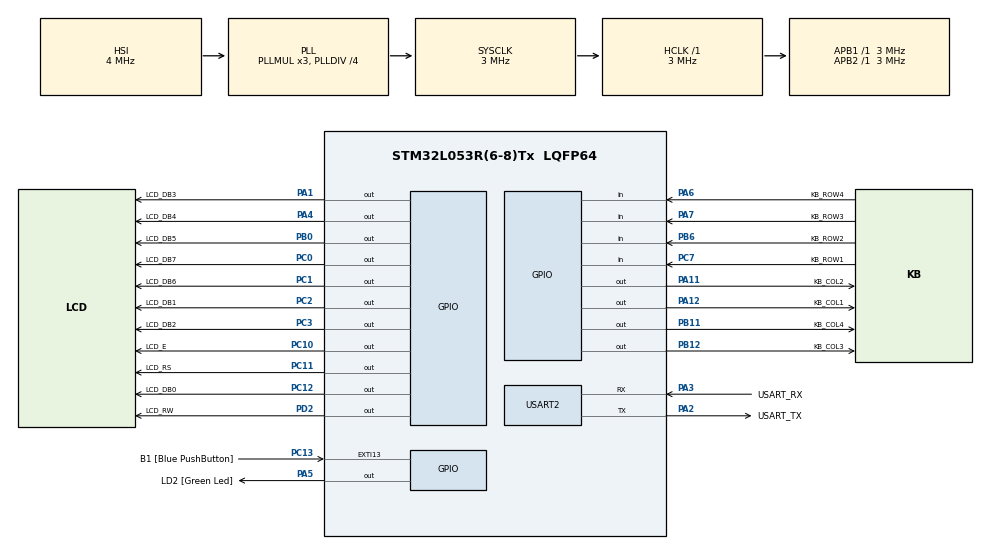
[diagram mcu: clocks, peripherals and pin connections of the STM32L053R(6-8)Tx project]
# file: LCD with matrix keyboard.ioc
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Mcu.Family=STM32L0
Mcu.Name=STM32L053R(6-8)Tx
Mcu.Package=LQFP64
PA1.GPIO_Label=LCD_DB3
PA1.Signal=GPIO_Output
PA11.GPIO_Label=KB_COL2
PA11.Signal=GPIO_Output
PA12.GPIO_Label=KB_COL1
PA12.Signal=GPIO_Output
PA13.GPIO_Label=TMS
PA13.Mode=Serial_Wire
PA13.Signal=SYS_SWDIO
PA14.GPIO_Label=TCK
PA14.Mode=Serial_Wire
PA14.Signal=SYS_SWCLK
PA2.GPIO_Label=USART_TX
PA2.Mode=Asynchronous
PA2.Signal=USART2_TX
PA3.GPIO_Label=USART_RX
PA3.Mode=Asynchronous
PA3.Signal=USART2_RX
PA4.GPIO_Label=LCD_DB4
PA4.Signal=GPIO_Output
PA5.GPIO_Label=LD2 [Green Led]
PA5.Signal=GPIO_Output
PA6.GPIO_Label=KB_ROW4
PA6.GPIO_PuPd=GPIO_PULLDOWN
PA6.Signal=GPIO_Input
PA7.GPIO_Label=KB_ROW3
PA7.GPIO_PuPd=GPIO_PULLDOWN
PA7.Signal=GPIO_Input
PB0.GPIO_Label=LCD_DB5
PB0.Signal=GPIO_Output
PB11.GPIO_Label=KB_COL4
PB11.Signal=GPIO_Output
PB12.GPIO_Label=KB_COL3
PB12.Signal=GPIO_Output
PB6.GPIO_Label=KB_ROW2
PB6.GPIO_PuPd=GPIO_PULLDOWN
PB6.Signal=GPIO_Input
PC0.GPIO_Label=LCD_DB7
PC0.Signal=GPIO_Output
PC1.GPIO_Label=LCD_DB6
PC1.Signal=GPIO_Output
PC10.GPIO_Label=LCD_E
PC10.Signal=GPIO_Output
PC11.GPIO_Label=LCD_RS
PC11.Signal=GPIO_Output
PC12.GPIO_Label=LCD_DB0
PC12.Signal=GPIO_Output
PC13.GPIO_Label=B1 [Blue PushButton]
PC13.GPIO_ModeDefaultEXTI=GPIO_MODE_IT_FALLING
PC13.Signal=GPXTI13
PC14-OSC32_IN.Mode=LSE-External-Oscillator
PC14-OSC32_IN.Signal=RCC_OSC32_IN
PC15-OSC32_OUT.Mode=LSE-External-Oscillator
PC15-OSC32_OUT.Signal=RCC_OSC32_OUT
PC2.GPIO_Label=LCD_DB1
PC2.Signal=GPIO_Output
PC3.GPIO_Label=LCD_DB2
PC3.Signal=GPIO_Output
PC7.GPIO_Label=KB_ROW1
PC7.GPIO_PuPd=GPIO_PULLDOWN
PC7.Signal=GPIO_Input
PD2.GPIO_Label=LCD_RW
PD2.Signal=GPIO_Output
PH0-OSC_IN.Mode=HSE-External-Clock-Source
PH0-OSC_IN.Signal=RCC_OSC_IN
PH1-OSC_OUT.Signal=RCC_OSC_OUT
ProjectManager.HeapSize=0x200
ProjectManager.StackSize=0x400
ProjectManager.TargetToolchain=MDK-ARM V5.27
RCC.ADCFreq_Value=4000000
RCC.AHBFreq_Value=3000000
RCC.APB1Freq_Value=3000000
RCC.APB1TimFreq_Value=3000000
RCC.APB2Freq_Value=3000000
RCC.APB2TimFreq_Value=3000000
RCC.HCLKFreq_Value=3000000
RCC.HSE_VALUE=8000000
RCC.HSI16_VALUE=16000000
RCC.HSI48_VALUE=48000000
RCC.HSIRCDiv=4
RCC.HSI_VALUE=4000000
RCC.MSI_VALUE=2097000
RCC.PLLDIV=RCC_PLLDIV_4
RCC.SYSCLKFreq_VALUE=3000000
RCC.SYSCLKSource=RCC_SYSCLKSOURCE_PLLCLK
RCC.VCOOutputFreq_Value=12000000
USART2.VirtualMode-Asynchronous=VM_ASYNC
board=NUCLEO-L053R8

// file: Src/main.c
/* USER CODE BEGIN Header */
/**
  ******************************************************************************
  * @file           : main.c
  * @brief          : Main program body
  ******************************************************************************
  * @attention
  *
  * <h2><center>&copy; Copyright (c) 2021 STMicroelectronics.
  * All rights reserved.</center></h2>
  *
  * This software component is licensed by ST under BSD 3-Clause license,
  * the "License"; You may not use this file except in compliance with the
  * License. You may obtain a copy of the License at:
  *                        opensource.org/licenses/BSD-3-Clause
  *
  ******************************************************************************
  */
/* USER CODE END Header */

#include "main.h"
#include "usart.h"
#include "gpio.h"

/* USER CODE BEGIN Includes */
#include "stdio.h"
/* USER CODE END Includes */

/* USER CODE BEGIN PTD */
typedef struct {
	char character;
	uint8_t number;
} Button;

typedef struct {
	char characters[2];
	uint8_t number;
} ValueDef;
/* USER CODE END PTD */

/* USER CODE BEGIN PD */
#define INSTRUCTION 			0
#define DATA 							1
#define WRITE_MODE 				GPIO_PIN_RESET
#define READ_MODE 				GPIO_PIN_SET
#define RESET 						GPIO_PIN_RESET
#define SET 							GPIO_PIN_SET
#define VIAS_4						0
#define VIAS_8						1
#define VIAS_DEFAULT      VIAS_8
#define LEFT_ARROW				0x00
#define RIGHT_ARROW				0x01

/* USER CODE END PD */

/* USER CODE BEGIN PM */
typedef enum {left, right, both, none}ScreenArrow;
typedef enum {screen1, screen2, screen3, screen4, screen5, screen6, screen7, wrongPassword, event1, event2, event3, event4, event5, noScreen}Screens;
/* USER CODE END PM */

/* USER CODE BEGIN PV */
Button kb_keys[4][4] = {
	{{'1',1},{'2',2},{'3',3},{'u',0xfe}},
	{{'4',4},{'5',5},{'6',6},{'d',0xfe}},
	{{'7',7},{'8',8},{'9',9},{'l',0xfe}},
	{{'*',0xff},{'0',0},{'#',0xff},{'r',0xfe}}
};

uint8_t arrowsCharacter [2][7] = {
	{0x00, 0x04, 0x08, 0x1f, 0x08, 0x04, 0x00},
	{0x00, 0x04, 0x02, 0x1f, 0x02, 0x04, 0x00}
};

char number[10] = {'0','1','2','3','4','5','6','7','8','9'};

ValueDef aqValue [3] = {
	{{'3','2'}, 32},
	{{'3','2'}, 32},
	{{'3','2'}, 32}
};

ValueDef rsfValue [3] = {
	{{'1','7'}, 17},
	{{'1','7'}, 17},
	{{'1','7'}, 17}
};

char passwords[3][4] = {
	{'0','0','0','1'},
	{'0','0','0','2'},
	{'0','0','0','3'}
};
/* USER CODE END PV */

void SystemClock_Config(void);
/* USER CODE BEGIN PFP */
void lcdInitialization(void);
void lcdSender(uint8_t, uint8_t, uint8_t);
void lcdWriteMessage(char *);
void lcdWriteCharacter(char);
void lcdWriteFormatedNumber(char);
void breakLine(void);
void cleanScreen(void);
void enableKBCol(uint8_t);
uint8_t selectedRow(uint8_t);
void lcdCreateCharacter(uint8_t [2][7]);
void turnOutputVias(void);
void turnInputVias(void);
char lcdReader(void);
void moveCursorTo(uint8_t row, uint8_t col);
Button numberButton(void);
void createScreen(char *msg1, char *msg2, ScreenArrow arrows) {
	cleanScreen();
	lcdWriteMessage(msg1);
	breakLine();
	lcdWriteMessage(msg2);

	switch(arrows) {
		case left:
			moveCursorTo(2,1);
			lcdWriteCharacter(LEFT_ARROW);
			break;
		case right:
			moveCursorTo(2,16);
			lcdWriteCharacter(RIGHT_ARROW);
			break;
		case both:
			moveCursorTo(2,1);
			lcdWriteCharacter(LEFT_ARROW);
			moveCursorTo(2,16);
			lcdWriteCharacter(RIGHT_ARROW);
			break;
		case none:
			break;
	}
}

/* USER CODE END PFP */

int main(void)
{

  /* MCU Configuration--------------------------------------------------------*/

  /* Reset of all peripherals, Initializes the Flash interface and the Systick. */
  HAL_Init();

  /* Configure the system clock */
  SystemClock_Config();

  /* Initialize all configured peripherals */
  MX_GPIO_Init();
  MX_USART2_UART_Init();
  /* USER CODE BEGIN 2 */
	lcdInitialization();
	lcdCreateCharacter(arrowsCharacter);

	Screens currentScreen = noScreen, nextScreen = screen1;
	uint8_t profile = 1;
	char *msg1, *msg2;
	Button bt;
	uint8_t passwordChecked;
	ValueDef aqValueTemp;
	ValueDef rsfValueTemp;
	uint8_t i;
  /* USER CODE END 2 */

  /* Infinite loop */
  while (1)
  {

    /* USER CODE BEGIN 3 */

		if(currentScreen != nextScreen) {
			currentScreen = nextScreen;
			switch(currentScreen) {
				case screen1:
					createScreen("  TEMPORIZADOR  ", "    PERFIL 1    ", right);
					profile = 1;
					do {
						bt = numberButton();
						switch(bt.character) {
							case 'r':
								nextScreen = screen2;
								break;
							case 'd':
								nextScreen = screen4;
								break;
							default:
								bt.number = 0xff;
								break;
						}
					} while(bt.number != 0xfe);
					break;
				case screen2:
					createScreen("  TEMPORIZADOR  ", "    PERFIL 2    ", both);
					profile = 2;
					do {
						bt = numberButton();
						switch(bt.character) {
							case 'l':
								nextScreen = screen1;
								break;
							case 'r':
								nextScreen = screen3;
								break;
							case 'd':
								nextScreen = screen4;
								break;
							default:
								bt.number = 0xff;
								break;
						}
					} while(bt.number != 0xfe);
					break;
				case screen3:
					createScreen("  TEMPORIZADOR  ", "    PERFIL 3    ", left);
					profile = 3;
					do {
						bt = numberButton();
						switch(bt.character) {
							case 'l':
								nextScreen = screen2;
								break;
								break;
							case 'd':
								nextScreen = screen4;
								break;
							default:
								bt.number = 0xff;
								break;
						}
					} while(bt.number != 0xfe);
					break;
				case screen4:
					msg1 = "    PERFIL X    ";
					msg2 = "AQ: XXs RSF: XXs";
					createScreen(msg1, msg2, none);
					moveCursorTo(1, 12);
					lcdWriteCharacter(number[profile]);
					moveCursorTo(2, 5);
					lcdWriteCharacter(aqValue[profile-1].characters[0]);
					lcdWriteCharacter(aqValue[profile-1].characters[1]);
					moveCursorTo(2, 14);
					lcdWriteCharacter(rsfValue[profile-1].characters[0]);
					lcdWriteCharacter(rsfValue[profile-1].characters[1]);
					HAL_Delay(1000);
					nextScreen = screen5;
					break;
				case screen5:
					msg1 = "    PERFIL X    ";
					msg2 = "    INICIAR     ";
					createScreen(msg1, msg2, right);
					moveCursorTo(1, 12);
					lcdWriteCharacter(number[profile]);
					do {
						bt = numberButton();
						switch(bt.character) {
							case 'u':
								nextScreen = screen1;
								break;
							case 'd':
								nextScreen = screen6;
								break;
							case 'r':
								nextScreen = screen7;
								break;
							default:
								bt.number = 0xff;
								break;
						}
					} while(bt.number != 0xfe);
					break;
				case screen6:
					msg1 = "    PERFIL X    ";
					msg2 = " INICIAR CICLO  ";
					createScreen(msg1, msg2, none);
					moveCursorTo(1, 12);
					lcdWriteCharacter(number[profile]);
					do {
						bt = numberButton();
						switch(bt.character) {
							case 'u':
								nextScreen = screen1;
								break;
							// Go to task E
							default:
								bt.number = 0xff;
								break;
						}
					} while(bt.number != 0xfe);
					break;
				case screen7:
					msg1 = "    PERFIL X    ";
					msg2 = "     EDITAR     ";
					createScreen(msg1, msg2, left);
					moveCursorTo(1, 12);
					lcdWriteCharacter(number[profile]);
					do {
						bt = numberButton();
						switch(bt.character) {
							case 'u':
								nextScreen = screen1;
								break;
							case 'l':
								nextScreen = screen5;
								break;
							case 'd':
								nextScreen = event1;
								break;
							default:
								bt.number = 0xff;
								break;
						}
					} while(bt.number != 0xfe);
					break;
				case wrongPassword:
					msg1 = "     SENHA      ";
					msg2 = "   INCORRETA    ";
					createScreen(msg1, msg2, none);
					HAL_Delay(1000);
					nextScreen = screen4;
					break;
				case event1:
					msg1 = "EDITAR PERFIL X ";
					msg2 = "SENHA:          ";
					createScreen(msg1, msg2, none);
					moveCursorTo(1, 15);
					lcdWriteCharacter(number[profile]);
					moveCursorTo(2,7);
				  int8_t counter = 0;
					char passwordCheck[4];
					while(counter < 4) {
						do {
							bt = numberButton();
						} while(bt.number == 0xfe || bt.number == 0xff);
						passwordCheck[counter] = bt.character;
						lcdWriteCharacter('*');
						counter++;
					}
					passwordChecked = 1;
					for(counter = 3; counter >= 0; counter--) {
						if(passwords[profile-1][counter] != passwordCheck[counter]) {
							passwordChecked = 0;
							break;
						}
					}
					if(passwordChecked == 0) {
						nextScreen = wrongPassword;
					} else {
						nextScreen = event2;
					}
					break;
				case event2:
					msg1 = "EDITAR PERFIL X ";
					msg2 = "AQUECIMENTO: XXs";
					createScreen(msg1, msg2, none);
					moveCursorTo(1, 15);
					lcdWriteCharacter(number[profile]);
					moveCursorTo(2, 14);
					lcdWriteCharacter(aqValue[profile-1].characters[0]);
					lcdWriteCharacter(aqValue[profile-1].characters[1]);
					do {
						aqValueTemp.number = 0;
						moveCursorTo(2, 14);
						lcdWriteMessage("  ");
						moveCursorTo(2, 14);
						for(i = 0; i < 2; i++) {
							do {
								bt = numberButton();
							}while(bt.number == 0xfe || bt.number == 0xff);
							if(i == 0) {
								aqValueTemp.number += (bt.number * 10);
							} else {
								aqValueTemp.number += bt.number;
							}
							aqValueTemp.characters[i] = bt.character;
							lcdWriteCharacter(bt.character);
						}
					} while(aqValueTemp.number > 32);

					do {
						bt = numberButton();
						switch(bt.character) {
							case 'd':
								nextScreen = event3;
								break;
							default:
								bt.number = 0xff;
								break;
						}
					} while(bt.number != 0xfe);
					break;
				case event3:
					msg1 = "EDITAR PERFIL X ";
					msg2 = "RESFRIAMENTO:XXs";
					createScreen(msg1, msg2, none);
					moveCursorTo(1, 15);
					lcdWriteCharacter(number[profile]);
					moveCursorTo(2, 14);
					lcdWriteCharacter(rsfValue[profile-1].characters[0]);
					lcdWriteCharacter(rsfValue[profile-1].characters[1]);
					do {
						rsfValueTemp.number = 0;
						moveCursorTo(2, 14);
						lcdWriteMessage("  ");
						moveCursorTo(2, 14);
						for(i = 0; i < 2; i++) {
							do {
								bt = numberButton();
							}while(bt.number == 0xfe || bt.number == 0xff);
							if(i == 0) {
								rsfValueTemp.number += (bt.number * 10);
							} else {
								rsfValueTemp.number += bt.number;
							}
							rsfValueTemp.characters[i] = bt.character;
							lcdWriteCharacter(bt.character);
						}
					} while(rsfValueTemp.number > 17);

					do {
						bt = numberButton();
						switch(bt.character) {
							case 'd':
								nextScreen = event4;
								break;
							default:
								bt.number = 0xff;
								break;
						}
					} while(bt.number != 0xfe);
					break;
				case event4:
					msg1 = "SALVAR PERFIL X?";
					msg2 = "AQ: XXs RSF: XXs";
					createScreen(msg1, msg2, none);
					moveCursorTo(1, 15);
					lcdWriteCharacter(number[profile]);
					moveCursorTo(2, 5);
					lcdWriteCharacter(aqValueTemp.characters[0]);
					lcdWriteCharacter(aqValueTemp.characters[1]);
					moveCursorTo(2, 14);
					lcdWriteCharacter(rsfValueTemp.characters[0]);
					lcdWriteCharacter(rsfValueTemp.characters[1]);
					do {
						bt = numberButton();
						switch(bt.character) {
							case 'u':
								nextScreen = screen1;
								break;
							case 'd':
								rsfValue[profile-1].characters[0] = rsfValueTemp.characters[0];
								rsfValue[profile-1].characters[1] = rsfValueTemp.characters[1];
								rsfValue[profile-1].number = rsfValueTemp.number;

								aqValue[profile-1].characters[0] = aqValueTemp.characters[0];
								aqValue[profile-1].characters[1] = aqValueTemp.characters[1];
								aqValue[profile-1].number = aqValueTemp.number;

								nextScreen = event5;
								break;
							default:
								bt.number = 0xff;
								break;
						}
					} while(bt.number != 0xfe);
					break;
				case event5:
					msg1 = " PERFIL X SALVO ";
					msg2 = "                ";
					createScreen(msg1, msg2, none);
					moveCursorTo(1, 9);
					lcdWriteCharacter(number[profile]);
					HAL_Delay(1000);
					nextScreen = screen5;
					break;
				case noScreen:
					break;
			}
		}

  }
  /* USER CODE END 3 */
}

void SystemClock_Config(void)
{
  RCC_OscInitTypeDef RCC_OscInitStruct = {0};
  RCC_ClkInitTypeDef RCC_ClkInitStruct = {0};
  RCC_PeriphCLKInitTypeDef PeriphClkInit = {0};

  /** Configure the main internal regulator output voltage
  */
  __HAL_PWR_VOLTAGESCALING_CONFIG(PWR_REGULATOR_VOLTAGE_SCALE1);
  /** Initializes the CPU, AHB and APB busses clocks
  */
  RCC_OscInitStruct.OscillatorType = RCC_OSCILLATORTYPE_HSI;
  RCC_OscInitStruct.HSIState = RCC_HSI_DIV4;
  RCC_OscInitStruct.HSICalibrationValue = RCC_HSICALIBRATION_DEFAULT;
  RCC_OscInitStruct.PLL.PLLState = RCC_PLL_ON;
  RCC_OscInitStruct.PLL.PLLSource = RCC_PLLSOURCE_HSI;
  RCC_OscInitStruct.PLL.PLLMUL = RCC_PLLMUL_3;
  RCC_OscInitStruct.PLL.PLLDIV = RCC_PLLDIV_4;
  if (HAL_RCC_OscConfig(&RCC_OscInitStruct) != HAL_OK)
  {
    Error_Handler();
  }
  /** Initializes the CPU, AHB and APB busses clocks
  */
  RCC_ClkInitStruct.ClockType = RCC_CLOCKTYPE_HCLK|RCC_CLOCKTYPE_SYSCLK
                              |RCC_CLOCKTYPE_PCLK1|RCC_CLOCKTYPE_PCLK2;
  RCC_ClkInitStruct.SYSCLKSource = RCC_SYSCLKSOURCE_PLLCLK;
  RCC_ClkInitStruct.AHBCLKDivider = RCC_SYSCLK_DIV1;
  RCC_ClkInitStruct.APB1CLKDivider = RCC_HCLK_DIV1;
  RCC_ClkInitStruct.APB2CLKDivider = RCC_HCLK_DIV1;

  if (HAL_RCC_ClockConfig(&RCC_ClkInitStruct, FLASH_LATENCY_0) != HAL_OK)
  {
    Error_Handler();
  }
  PeriphClkInit.PeriphClockSelection = RCC_PERIPHCLK_USART2;
  PeriphClkInit.Usart2ClockSelection = RCC_USART2CLKSOURCE_PCLK1;
  if (HAL_RCCEx_PeriphCLKConfig(&PeriphClkInit) != HAL_OK)
  {
    Error_Handler();
  }
}

/* USER CODE BEGIN 4 */
void lcdInitialization(void) {

	switch(VIAS_DEFAULT) {
		case VIAS_8:
			HAL_Delay(15);
			lcdSender(0x30, INSTRUCTION, WRITE_MODE);
			HAL_Delay(5);
			lcdSender(0x30, INSTRUCTION, WRITE_MODE);
			lcdSender(0x30, INSTRUCTION, WRITE_MODE);
			lcdSender(0x38, INSTRUCTION, WRITE_MODE);
			lcdSender(0x0F, INSTRUCTION, WRITE_MODE);
			lcdSender(0x06, INSTRUCTION, WRITE_MODE);
			HAL_Delay(2);
			lcdSender(0x01, INSTRUCTION, WRITE_MODE);
			HAL_Delay(2);
			lcdSender(0x0C, INSTRUCTION, WRITE_MODE);
			HAL_Delay(2);
			break;
		case VIAS_4:
			HAL_Delay(15);
			lcdSender(0x33, INSTRUCTION, WRITE_MODE);
			lcdSender(0x32, INSTRUCTION, WRITE_MODE);
			lcdSender(0x2F, INSTRUCTION, WRITE_MODE);
			lcdSender(0x08, INSTRUCTION, WRITE_MODE);
			lcdSender(0x0C, INSTRUCTION, WRITE_MODE);
			lcdSender(0x01, INSTRUCTION, WRITE_MODE);
			HAL_Delay(2);
			break;
	}

}

void lcdSender(uint8_t data, uint8_t rs_mode, uint8_t rw_mode) {
	HAL_GPIO_WritePin(LCD_RS_GPIO_Port, LCD_RS_Pin, (rs_mode == DATA ? SET:RESET));
	HAL_GPIO_WritePin(LCD_RW_GPIO_Port, LCD_RW_Pin, rw_mode);

	switch(VIAS_DEFAULT) {
		case VIAS_8:
			HAL_GPIO_WritePin(LCD_DB0_GPIO_Port, LCD_DB0_Pin, ((data & 0x01) == 0x01 ? SET:RESET));
			HAL_GPIO_WritePin(LCD_DB1_GPIO_Port, LCD_DB1_Pin, ((data & 0x02) == 0x02 ? SET:RESET));
			HAL_GPIO_WritePin(LCD_DB2_GPIO_Port, LCD_DB2_Pin, ((data & 0x04) == 0x04 ? SET:RESET));
			HAL_GPIO_WritePin(LCD_DB3_GPIO_Port, LCD_DB3_Pin, ((data & 0x08) == 0x08 ? SET:RESET));
			HAL_GPIO_WritePin(GPIOA, GPIO_PIN_4, ((data & 0x10) == 0x10 ? SET:RESET));
			HAL_GPIO_WritePin(LCD_DB5_GPIO_Port, LCD_DB5_Pin, ((data & 0x20) == 0x20 ? SET:RESET));
			HAL_GPIO_WritePin(LCD_DB6_GPIO_Port, LCD_DB6_Pin, ((data & 0x40) == 0x40 ? SET:RESET));
			HAL_GPIO_WritePin(LCD_DB7_GPIO_Port, LCD_DB7_Pin, ((data & 0x80) == 0x80 ? SET:RESET));
			break;
		case VIAS_4:
			HAL_GPIO_WritePin(LCD_DB4_GPIO_Port, LCD_DB4_Pin, ((data & 0x10) == 0x10 ? SET:RESET));
			HAL_GPIO_WritePin(LCD_DB5_GPIO_Port, LCD_DB5_Pin, ((data & 0x20) == 0x20 ? SET:RESET));
			HAL_GPIO_WritePin(LCD_DB6_GPIO_Port, LCD_DB6_Pin, ((data & 0x40) == 0x40 ? SET:RESET));
			HAL_GPIO_WritePin(LCD_DB7_GPIO_Port, LCD_DB7_Pin, ((data & 0x80) == 0x80 ? SET:RESET));

			HAL_GPIO_WritePin(LCD_E_GPIO_Port, LCD_E_Pin, RESET);
			HAL_Delay(1);
			HAL_GPIO_WritePin(LCD_E_GPIO_Port, LCD_E_Pin, SET);
			HAL_Delay(1);
			HAL_GPIO_WritePin(LCD_E_GPIO_Port, LCD_E_Pin, RESET);

			HAL_GPIO_WritePin(LCD_DB4_GPIO_Port, LCD_DB4_Pin, (((data << 4) & 0x10) == 0x10 ? SET:RESET));
			HAL_GPIO_WritePin(LCD_DB5_GPIO_Port, LCD_DB5_Pin, (((data << 4) & 0x20) == 0x20 ? SET:RESET));
			HAL_GPIO_WritePin(LCD_DB6_GPIO_Port, LCD_DB6_Pin, (((data << 4) & 0x40) == 0x40 ? SET:RESET));
			HAL_GPIO_WritePin(LCD_DB7_GPIO_Port, LCD_DB7_Pin, (((data << 4) & 0x80) == 0x80 ? SET:RESET));
	}

	HAL_GPIO_WritePin(LCD_E_GPIO_Port, LCD_E_Pin, RESET);
	HAL_Delay(1);
	HAL_GPIO_WritePin(LCD_E_GPIO_Port, LCD_E_Pin, SET);
	HAL_Delay(1);
	HAL_GPIO_WritePin(LCD_E_GPIO_Port, LCD_E_Pin, RESET);

}

void lcdWriteMessage(char *msg) {
	do {
			lcdSender(*msg, DATA, WRITE_MODE);
	} while(*msg++ && *msg != '\0');
}

void lcdWriteCharacter(char data) {
	lcdSender(data, DATA, WRITE_MODE);
}

void breakLine(void) {
	lcdSender(0xC0, INSTRUCTION, WRITE_MODE);
}

void cleanScreen(void) {
	lcdSender(0x01, INSTRUCTION, WRITE_MODE);
}

void enableKBCol(uint8_t col) {
	HAL_GPIO_WritePin(KB_COL1_GPIO_Port, KB_COL1_Pin, (col == 0 ? GPIO_PIN_SET:GPIO_PIN_RESET));
	HAL_GPIO_WritePin(KB_COL2_GPIO_Port, KB_COL2_Pin, (col == 1 ? GPIO_PIN_SET:GPIO_PIN_RESET));
	HAL_GPIO_WritePin(KB_COL3_GPIO_Port, KB_COL3_Pin, (col == 2 ? GPIO_PIN_SET:GPIO_PIN_RESET));
	HAL_GPIO_WritePin(KB_COL4_GPIO_Port, KB_COL4_Pin, (col == 3 ? GPIO_PIN_SET:GPIO_PIN_RESET));
}

uint8_t selectedRow(uint8_t col) {
	uint8_t row = 0xff;
	if(HAL_GPIO_ReadPin(KB_ROW1_GPIO_Port, KB_ROW1_Pin)) {
		HAL_Delay(100);
		if(HAL_GPIO_ReadPin(KB_ROW1_GPIO_Port, KB_ROW1_Pin)) {
			row = 0;
		}
	} else if(HAL_GPIO_ReadPin(KB_ROW2_GPIO_Port, KB_ROW2_Pin)) {
		HAL_Delay(100);
		if(HAL_GPIO_ReadPin(KB_ROW2_GPIO_Port, KB_ROW2_Pin)) {
			row = 1;
		}
	} else if(HAL_GPIO_ReadPin(KB_ROW3_GPIO_Port, KB_ROW3_Pin)) {
		HAL_Delay(100);
		if(HAL_GPIO_ReadPin(KB_ROW3_GPIO_Port, KB_ROW3_Pin)) {
			row = 2;
		}
	} else if(HAL_GPIO_ReadPin(KB_ROW4_GPIO_Port, KB_ROW4_Pin)) {
		HAL_Delay(100);
		if(HAL_GPIO_ReadPin(KB_ROW4_GPIO_Port, KB_ROW4_Pin)) {
			row = 3;
		}
	}

	return row;
}

void lcdCreateCharacter(uint8_t arr[2][7]) {
	uint8_t i = 0;
	lcdSender(0x40, INSTRUCTION, WRITE_MODE);
	for(i = 0; i < 7;i++) {
		lcdSender(arr[0][i], DATA, WRITE_MODE);
	}
	lcdSender(0x00, DATA, WRITE_MODE);
	for(i = 0; i < 7;i++) {
		lcdSender(arr[1][i], DATA, WRITE_MODE);
	}
	lcdSender(0x00, DATA, WRITE_MODE);
	lcdSender(0x00, INSTRUCTION, WRITE_MODE);
}

void turnOutputVias(void) {
	GPIO_InitTypeDef GPIO_InitStruct = {0};

	GPIO_InitStruct.Pin = LCD_DB7_Pin|LCD_DB6_Pin|LCD_DB1_Pin|LCD_DB2_Pin|LCD_DB0_Pin;
  GPIO_InitStruct.Mode = GPIO_MODE_OUTPUT_PP;
  GPIO_InitStruct.Pull = GPIO_NOPULL;
  GPIO_InitStruct.Speed = GPIO_SPEED_FREQ_LOW;
  HAL_GPIO_Init(GPIOC, &GPIO_InitStruct);

  GPIO_InitStruct.Pin = LCD_DB3_Pin|LCD_DB4_Pin;
  GPIO_InitStruct.Mode = GPIO_MODE_OUTPUT_PP;
  GPIO_InitStruct.Pull = GPIO_NOPULL;
  GPIO_InitStruct.Speed = GPIO_SPEED_FREQ_LOW;
  HAL_GPIO_Init(GPIOA, &GPIO_InitStruct);

  GPIO_InitStruct.Pin = LCD_DB5_Pin;
  GPIO_InitStruct.Mode = GPIO_MODE_OUTPUT_PP;
  GPIO_InitStruct.Pull = GPIO_NOPULL;
  GPIO_InitStruct.Speed = GPIO_SPEED_FREQ_LOW;
  HAL_GPIO_Init(GPIOB, &GPIO_InitStruct);
}

void turnInputVias(void) {
	GPIO_InitTypeDef GPIO_InitStruct = {0};

	GPIO_InitStruct.Pin = LCD_DB7_Pin|LCD_DB6_Pin|LCD_DB1_Pin|LCD_DB2_Pin|LCD_DB0_Pin;
  GPIO_InitStruct.Mode = GPIO_MODE_INPUT;
  GPIO_InitStruct.Pull = GPIO_PULLDOWN;
  HAL_GPIO_Init(GPIOC, &GPIO_InitStruct);

  GPIO_InitStruct.Pin = LCD_DB3_Pin|LCD_DB4_Pin;
  GPIO_InitStruct.Mode = GPIO_MODE_INPUT;
  GPIO_InitStruct.Pull = GPIO_PULLDOWN;
  HAL_GPIO_Init(GPIOA, &GPIO_InitStruct);

  GPIO_InitStruct.Pin = LCD_DB5_Pin;
  GPIO_InitStruct.Mode = GPIO_MODE_INPUT;
  GPIO_InitStruct.Pull = GPIO_PULLDOWN;
  HAL_GPIO_Init(GPIOB, &GPIO_InitStruct);
}

char lcdReader() {
	char data[9];
	data[8] = 0x00;
	uint8_t i;

	turnInputVias();

	HAL_GPIO_WritePin(LCD_E_GPIO_Port, LCD_E_Pin, RESET);

	HAL_GPIO_WritePin(LCD_RS_GPIO_Port, LCD_RS_Pin, DATA);
	HAL_GPIO_WritePin(LCD_RW_GPIO_Port, LCD_RW_Pin, READ_MODE);

	HAL_Delay(1);
	HAL_GPIO_WritePin(LCD_E_GPIO_Port, LCD_E_Pin, SET);
	HAL_Delay(1);

	switch(VIAS_DEFAULT) {
		case VIAS_4:
			break;
		case VIAS_8:
			data[0] = (HAL_GPIO_ReadPin(LCD_DB0_GPIO_Port, LCD_DB0_Pin) == 1 ? (0x01 << 0):0x00);
			data[1] = (HAL_GPIO_ReadPin(LCD_DB1_GPIO_Port, LCD_DB1_Pin) == 1 ? (0x01 << 1):0x00);
			data[2] = (HAL_GPIO_ReadPin(LCD_DB2_GPIO_Port, LCD_DB2_Pin) == 1 ? (0x01 << 2):0x00);
			data[3] = (HAL_GPIO_ReadPin(LCD_DB3_GPIO_Port, LCD_DB3_Pin) == 1 ? (0x01 << 3):0x00);
			data[4] = (HAL_GPIO_ReadPin(LCD_DB4_GPIO_Port, LCD_DB4_Pin) == 1 ? (0x01 << 4):0x00);
			data[5] = (HAL_GPIO_ReadPin(LCD_DB5_GPIO_Port, LCD_DB5_Pin) == 1 ? (0x01 << 5):0x00);
			data[6] = (HAL_GPIO_ReadPin(LCD_DB6_GPIO_Port, LCD_DB6_Pin) == 1 ? (0x01 << 6):0x00);
			data[7] = (HAL_GPIO_ReadPin(LCD_DB7_GPIO_Port, LCD_DB7_Pin) == 1 ? (0x01 << 7):0x00);
			break;
	}
	HAL_GPIO_WritePin(LCD_E_GPIO_Port, LCD_E_Pin, RESET);
	turnOutputVias();

	for(i = 0; i < 8; i++) {
		data[8] |= data[i];
	}

	return data[8];
}

void moveCursorTo(uint8_t row, uint8_t col) {
	if(row > 2 || col > 16) {
		return;
	}
	uint8_t cursorPositions[2][16] = {
		{0x80,0x81,0x82,0x83,0x84,0x85,0x86,0x87,0x88,0x89,0x8a,0x8b,0x8c,0x8d,0x8e,0x8f},
		{0xc0,0xc1,0xc2,0xc3,0xc4,0xc5,0xc6,0xc7,0xc8,0xc9,0xca,0xcb,0xcc,0xcd,0xce,0xcf}
	};
	lcdSender((cursorPositions[row-1][col-1] | 0x80), INSTRUCTION, WRITE_MODE);
}

Button numberButton(void) {
	uint8_t col = 0;
	uint8_t row;
	Button number = {'\0',0xff};
	while (number.number == 0xff) {
		switch(col) {
			case 0:
				enableKBCol(col);
				row = selectedRow(col);
				number.number = (row != 0xff ? kb_keys[row][col].number:0xff);
				if (number.number != 0xff) {
					number.character = kb_keys[row][col].character;
				}
				col = 1;
				break;
			case 1:
				enableKBCol(col);
				row = selectedRow(col);
				number.number = (row != 0xff ? kb_keys[row][col].number:0xff);
				if (number.number != 0xff) {
					number.character = kb_keys[row][col].character;
				}
				col = 2;
				break;
			case 2:
				enableKBCol(col);
				row = selectedRow(col);
				number.number = (row != 0xff ? kb_keys[row][col].number:0xff);
				if (number.number != 0xff) {
					number.character = kb_keys[row][col].character;
				}
				col = 3;
				break;
			case 3:
				enableKBCol(col);
				row = selectedRow(col);
				number.number = (row != 0xff ? kb_keys[row][col].number:0xff);
				if (number.number != 0xff) {
					number.character = kb_keys[row][col].character;
				}
				col = 0;
				break;
		}
	}

	return number;
}

/* USER CODE END 4 */

void Error_Handler(void)
{
}

/************************ (C) COPYRIGHT STMicroelectronics *****END OF FILE****/
